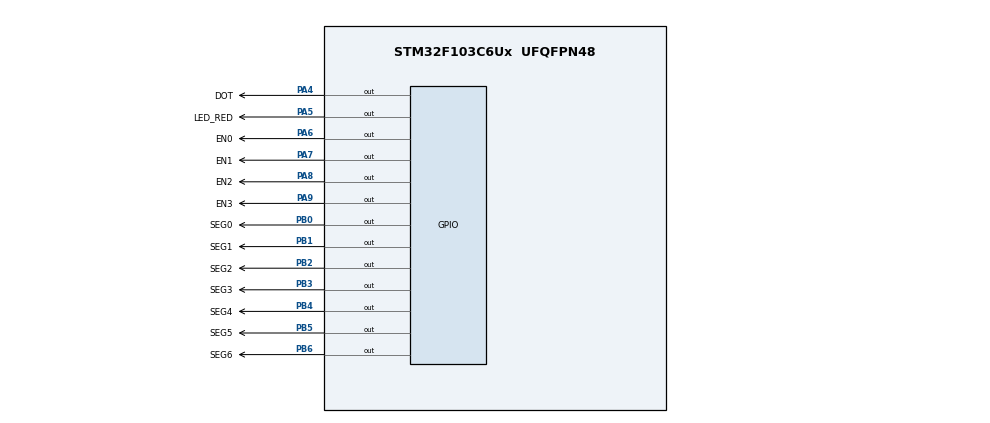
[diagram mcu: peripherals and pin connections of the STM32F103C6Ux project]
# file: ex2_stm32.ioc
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Mcu.Family=STM32F1
Mcu.Name=STM32F103C6Ux
Mcu.Package=UFQFPN48
NVIC.PriorityGroup=NVIC_PRIORITYGROUP_4
NVIC.TIM2_IRQn=true\:0\:0\:false\:false\:true\:true\:true
PA4.GPIO_Label=DOT
PA4.Signal=GPIO_Output
PA5.GPIO_Label=LED_RED
PA5.Signal=GPIO_Output
PA6.GPIO_Label=EN0
PA6.Signal=GPIO_Output
PA7.GPIO_Label=EN1
PA7.Signal=GPIO_Output
PA8.GPIO_Label=EN2
PA8.Signal=GPIO_Output
PA9.GPIO_Label=EN3
PA9.Signal=GPIO_Output
PB0.GPIO_Label=SEG0
PB0.Signal=GPIO_Output
PB1.GPIO_Label=SEG1
PB1.Signal=GPIO_Output
PB2.GPIO_Label=SEG2
PB2.Signal=GPIO_Output
PB3.GPIO_Label=SEG3
PB3.Signal=GPIO_Output
PB4.GPIO_Label=SEG4
PB4.Signal=GPIO_Output
PB5.GPIO_Label=SEG5
PB5.Signal=GPIO_Output
PB6.GPIO_Label=SEG6
PB6.Signal=GPIO_Output
ProjectManager.HeapSize=0x200
ProjectManager.StackSize=0x400
ProjectManager.TargetToolchain=STM32CubeIDE
RCC.APB1Freq_Value=8000000
RCC.APB2Freq_Value=8000000
TIM2.Period=9
TIM2.Prescaler=7999
VP_SYS_VS_ND.Mode=No_Debug
VP_TIM2_VS_ClockSourceINT.Mode=Internal
board=custom

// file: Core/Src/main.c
/* USER CODE BEGIN Header */
/**
  ******************************************************************************
  * @file           : main.c
  * @brief          : Main program body
  ******************************************************************************
  * @attention
  *
  * <h2><center>&copy; Copyright (c) 2022 STMicroelectronics.
  * All rights reserved.</center></h2>
  *
  * This software component is licensed by ST under BSD 3-Clause license,
  * the "License"; You may not use this file except in compliance with the
  * License. You may obtain a copy of the License at:
  *                        opensource.org/licenses/BSD-3-Clause
  *
  ******************************************************************************
  */
/* USER CODE END Header */
#include "main.h"

TIM_HandleTypeDef htim2;

void SystemClock_Config(void);
static void MX_GPIO_Init(void);
static void MX_TIM2_Init(void);

/* USER CODE BEGIN 0 */
uint8_t segmentNumber[10] = {
        0x3f,  // 0
        0x06,  // 1
        0x5b,  // 2
        0x4f,  // 3
        0x66,  // 4
        0x6d,  // 5
        0x7d,  // 6
        0x07,  // 7
        0x7f,  // 8
        0x67   // 9
};

void display7SEG(uint8_t number){
	HAL_GPIO_WritePin(SEG0_GPIO_Port, SEG0_Pin, ((number>>0)&0x01)^0x01);
	HAL_GPIO_WritePin(SEG1_GPIO_Port, SEG1_Pin, ((number>>1)&0x01)^0x01);
	HAL_GPIO_WritePin(SEG2_GPIO_Port, SEG2_Pin, ((number>>2)&0x01)^0x01);
	HAL_GPIO_WritePin(SEG3_GPIO_Port, SEG3_Pin, ((number>>3)&0x01)^0x01);
	HAL_GPIO_WritePin(SEG4_GPIO_Port, SEG4_Pin, ((number>>4)&0x01)^0x01);
	HAL_GPIO_WritePin(SEG5_GPIO_Port, SEG5_Pin, ((number>>5)&0x01)^0x01);
	HAL_GPIO_WritePin(SEG6_GPIO_Port, SEG6_Pin, ((number>>6)&0x01)^0x01);
}
/* USER CODE END 0 */

int main(void)
{

  /* MCU Configuration--------------------------------------------------------*/

  /* Reset of all peripherals, Initializes the Flash interface and the Systick. */
  HAL_Init();

  /* Configure the system clock */
  SystemClock_Config();

  /* Initialize all configured peripherals */
  MX_GPIO_Init();
  MX_TIM2_Init();
  /* USER CODE BEGIN 2 */
  HAL_TIM_Base_Start_IT(&htim2);
  /* USER CODE END 2 */

  /* Infinite loop */
  while (1)
  {

  }
}

void SystemClock_Config(void)
{
  RCC_OscInitTypeDef RCC_OscInitStruct = {0};
  RCC_ClkInitTypeDef RCC_ClkInitStruct = {0};

  /** Initializes the RCC Oscillators according to the specified parameters
  * in the RCC_OscInitTypeDef structure.
  */
  RCC_OscInitStruct.OscillatorType = RCC_OSCILLATORTYPE_HSI;
  RCC_OscInitStruct.HSIState = RCC_HSI_ON;
  RCC_OscInitStruct.HSICalibrationValue = RCC_HSICALIBRATION_DEFAULT;
  RCC_OscInitStruct.PLL.PLLState = RCC_PLL_NONE;
  if (HAL_RCC_OscConfig(&RCC_OscInitStruct) != HAL_OK)
  {
    Error_Handler();
  }
  /** Initializes the CPU, AHB and APB buses clocks
  */
  RCC_ClkInitStruct.ClockType = RCC_CLOCKTYPE_HCLK|RCC_CLOCKTYPE_SYSCLK
                              |RCC_CLOCKTYPE_PCLK1|RCC_CLOCKTYPE_PCLK2;
  RCC_ClkInitStruct.SYSCLKSource = RCC_SYSCLKSOURCE_HSI;
  RCC_ClkInitStruct.AHBCLKDivider = RCC_SYSCLK_DIV1;
  RCC_ClkInitStruct.APB1CLKDivider = RCC_HCLK_DIV1;
  RCC_ClkInitStruct.APB2CLKDivider = RCC_HCLK_DIV1;

  if (HAL_RCC_ClockConfig(&RCC_ClkInitStruct, FLASH_LATENCY_0) != HAL_OK)
  {
    Error_Handler();
  }
}

static void MX_TIM2_Init(void)
{

  TIM_ClockConfigTypeDef sClockSourceConfig = {0};
  TIM_MasterConfigTypeDef sMasterConfig = {0};

  htim2.Instance = TIM2;
  htim2.Init.Prescaler = 7999;
  htim2.Init.CounterMode = TIM_COUNTERMODE_UP;
  htim2.Init.Period = 9;
  htim2.Init.ClockDivision = TIM_CLOCKDIVISION_DIV1;
  htim2.Init.AutoReloadPreload = TIM_AUTORELOAD_PRELOAD_DISABLE;
  if (HAL_TIM_Base_Init(&htim2) != HAL_OK)
  {
    Error_Handler();
  }
  sClockSourceConfig.ClockSource = TIM_CLOCKSOURCE_INTERNAL;
  if (HAL_TIM_ConfigClockSource(&htim2, &sClockSourceConfig) != HAL_OK)
  {
    Error_Handler();
  }
  sMasterConfig.MasterOutputTrigger = TIM_TRGO_RESET;
  sMasterConfig.MasterSlaveMode = TIM_MASTERSLAVEMODE_DISABLE;
  if (HAL_TIMEx_MasterConfigSynchronization(&htim2, &sMasterConfig) != HAL_OK)
  {
    Error_Handler();
  }

}

static void MX_GPIO_Init(void)
{
  GPIO_InitTypeDef GPIO_InitStruct = {0};

  /* GPIO Ports Clock Enable */
  __HAL_RCC_GPIOA_CLK_ENABLE();
  __HAL_RCC_GPIOB_CLK_ENABLE();

  /*Configure GPIO pin Output Level */
  HAL_GPIO_WritePin(GPIOA, DOT_Pin|LED_RED_Pin|EN0_Pin|EN1_Pin
                          |EN2_Pin|EN3_Pin, GPIO_PIN_RESET);

  /*Configure GPIO pin Output Level */
  HAL_GPIO_WritePin(GPIOB, SEG0_Pin|SEG1_Pin|SEG2_Pin|SEG3_Pin
                          |SEG4_Pin|SEG5_Pin|SEG6_Pin, GPIO_PIN_RESET);

  /*Configure GPIO pins : DOT_Pin LED_RED_Pin EN0_Pin EN1_Pin
                           EN2_Pin EN3_Pin */
  GPIO_InitStruct.Pin = DOT_Pin|LED_RED_Pin|EN0_Pin|EN1_Pin
                          |EN2_Pin|EN3_Pin;
  GPIO_InitStruct.Mode = GPIO_MODE_OUTPUT_PP;
  GPIO_InitStruct.Pull = GPIO_NOPULL;
  GPIO_InitStruct.Speed = GPIO_SPEED_FREQ_LOW;
  HAL_GPIO_Init(GPIOA, &GPIO_InitStruct);

  /*Configure GPIO pins : SEG0_Pin SEG1_Pin SEG2_Pin SEG3_Pin
                           SEG4_Pin SEG5_Pin SEG6_Pin */
  GPIO_InitStruct.Pin = SEG0_Pin|SEG1_Pin|SEG2_Pin|SEG3_Pin
                          |SEG4_Pin|SEG5_Pin|SEG6_Pin;
  GPIO_InitStruct.Mode = GPIO_MODE_OUTPUT_PP;
  GPIO_InitStruct.Pull = GPIO_NOPULL;
  GPIO_InitStruct.Speed = GPIO_SPEED_FREQ_LOW;
  HAL_GPIO_Init(GPIOB, &GPIO_InitStruct);

}

/* USER CODE BEGIN 4 */
int led_red_counter = 100;
int led_7seg_counter = 50;
int state = 1;
void HAL_TIM_PeriodElapsedCallback ( TIM_HandleTypeDef * htim ){
		led_red_counter--;
		led_7seg_counter--;
		if(led_red_counter <= 0){
		    led_red_counter = 100;
			HAL_GPIO_TogglePin(DOT_GPIO_Port, DOT_Pin);
			HAL_GPIO_TogglePin(LED_RED_GPIO_Port, LED_RED_Pin);
		}
		if(led_7seg_counter <= 0){
			led_7seg_counter = 50;
			switch (state){
				case 1:{
					HAL_GPIO_WritePin(GPIOA, EN1_Pin|EN2_Pin|EN3_Pin, GPIO_PIN_SET);
					HAL_GPIO_WritePin(EN0_GPIO_Port, EN0_Pin, RESET);
					display7SEG(segmentNumber[1]);
					state = 2;
					break;
				}
				case 2:{
					HAL_GPIO_WritePin(GPIOA, EN0_Pin|EN2_Pin|EN3_Pin, GPIO_PIN_SET);
					HAL_GPIO_WritePin(EN1_GPIO_Port, EN1_Pin, RESET);
					display7SEG(segmentNumber[2]);
					state = 3;
					break;
				}
				case 3:{
					HAL_GPIO_WritePin(GPIOA, EN0_Pin|EN1_Pin|EN3_Pin, GPIO_PIN_SET);
					HAL_GPIO_WritePin(EN2_GPIO_Port, EN2_Pin, RESET);
					display7SEG(segmentNumber[3]);
					state = 4;
					break;
				}
				case 4:{
					HAL_GPIO_WritePin(GPIOA, EN0_Pin|EN2_Pin|EN1_Pin, GPIO_PIN_SET);
					HAL_GPIO_WritePin(EN3_GPIO_Port, EN3_Pin, RESET);
					display7SEG(segmentNumber[0]);
					state = 1;
					break;
				}
			}
		}
}
/* USER CODE END 4 */

void Error_Handler(void)
{
  __disable_irq();
  while (1)
  {
  }
}

/************************ (C) COPYRIGHT STMicroelectronics *****END OF FILE****/
